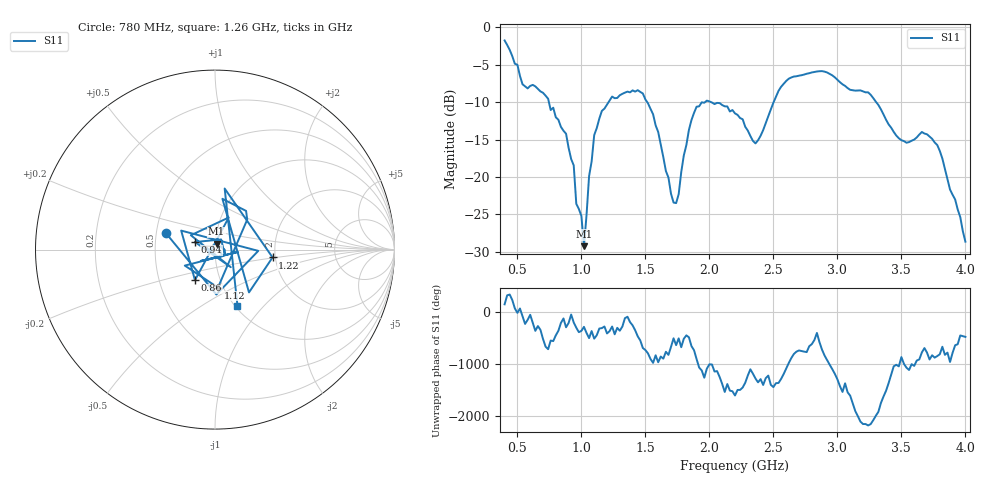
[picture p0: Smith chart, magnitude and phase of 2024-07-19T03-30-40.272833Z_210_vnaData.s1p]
!Created with skrf (http://scikit-rf.org).
# Hz S RI R 50.0
!freq ReS11 ImS11
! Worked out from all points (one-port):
!   181 points, 400 MHz to 4 GHz, reference 50 ohm
!   lowest |S11| = -29.3 dB at 1.02 GHz (marker M1), VSWR 1.07, Z = 50.8 + j3.38 ohm
!   |S11| at or under -10 dB: 746 MHz to 1.212 GHz (466.3 MHz wide, 47.6 % of centre); 2.013 GHz to 2.502 GHz (489 MHz wide, 21.7 % of centre); 3.303 GHz to end of sweep (the widest 3 of 4)
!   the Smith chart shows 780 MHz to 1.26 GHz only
!   S11 on the Smith chart (normalised r, x): 780 MHz: 0.56, +0.11; 860 MHz: 0.76, -0.27; 940 MHz: 0.80, +0.07; 1.12 GHz: 0.94, -0.42; 1.22 GHz: 1.93, -0.19; 1.26 GHz: 1.03, -0.72
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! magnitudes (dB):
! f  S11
! 400 MHz  -1.8
! 540 MHz  -7.6
! 780 MHz  -10.7
! 860 MHz  -13.8
! 940 MHz  -18.5
! 960 MHz  -23.6
! 1 GHz  -25.2
! 1.02 GHz  -29.3
! 1.06 GHz  -19.9
! 1.12 GHz  -13.5
! 1.22 GHz  -9.8
! 1.26 GHz  -9.5
! 1.3 GHz  -9.1
! 1.48 GHz  -8.8
! 1.6 GHz  -14.0
! 1.72 GHz  -23.4
! 1.76 GHz  -22.3
! 1.84 GHz  -13.7
! 1.9 GHz  -10.6
! 2.2 GHz  -11.5
! 2.36 GHz  -15.5
! 2.54 GHz  -8.5
! 2.66 GHz  -6.6
! 3.1 GHz  -8.4
! 3.24 GHz  -8.7
! 3.56 GHz  -15.3
! 3.78 GHz  -15.7
! 4 GHz  -28.7
